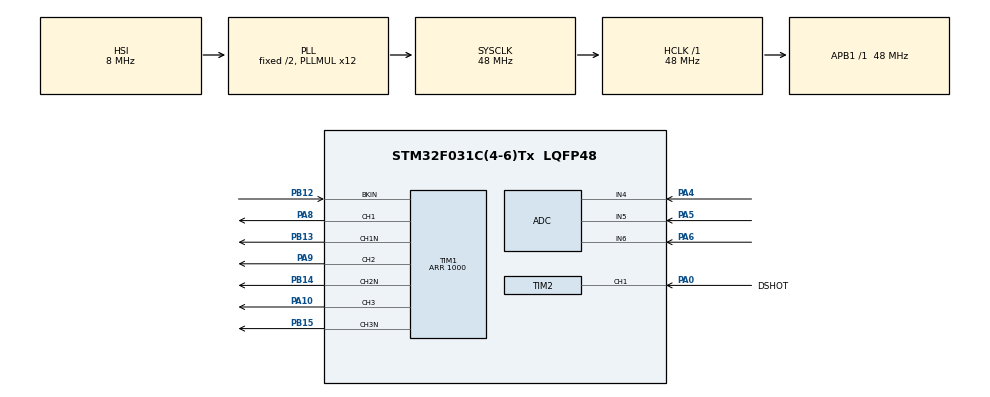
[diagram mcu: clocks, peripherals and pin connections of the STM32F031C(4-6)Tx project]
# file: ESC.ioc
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ADC.ExternalTrigConv=ADC_EXTERNALTRIGCONV_T1_TRGO
Dma.ADC.1.Direction=DMA_PERIPH_TO_MEMORY
Dma.ADC.1.Instance=DMA1_Channel1
Dma.ADC.1.MemDataAlignment=DMA_MDATAALIGN_HALFWORD
Dma.ADC.1.MemInc=DMA_MINC_ENABLE
Dma.ADC.1.Mode=DMA_CIRCULAR
Dma.ADC.1.PeriphDataAlignment=DMA_PDATAALIGN_HALFWORD
Dma.ADC.1.PeriphInc=DMA_PINC_DISABLE
Dma.ADC.1.Priority=DMA_PRIORITY_LOW
Dma.Request0=TIM2_CH1
Dma.Request1=ADC
Dma.TIM2_CH1.0.Direction=DMA_PERIPH_TO_MEMORY
Dma.TIM2_CH1.0.Instance=DMA1_Channel5
Dma.TIM2_CH1.0.MemDataAlignment=DMA_MDATAALIGN_WORD
Dma.TIM2_CH1.0.MemInc=DMA_MINC_ENABLE
Dma.TIM2_CH1.0.Mode=DMA_NORMAL
Dma.TIM2_CH1.0.PeriphDataAlignment=DMA_PDATAALIGN_WORD
Dma.TIM2_CH1.0.PeriphInc=DMA_PINC_DISABLE
Dma.TIM2_CH1.0.Priority=DMA_PRIORITY_LOW
Mcu.Family=STM32F0
Mcu.Name=STM32F031C(4-6)Tx
Mcu.Package=LQFP48
NVIC.DMA1_Channel1_IRQn=true\:0\:0\:false\:false\:true\:false\:true\:true
NVIC.DMA1_Channel4_5_IRQn=true\:0\:0\:false\:false\:true\:false\:true\:true
PA0.GPIO_Label=DSHOT
PA0.Signal=S_TIM2_CH1_ETR
PA10.Signal=S_TIM1_CH3
PA4.Mode=IN4
PA4.Signal=ADC_IN4
PA5.Mode=IN5
PA5.Signal=ADC_IN5
PA6.Mode=IN6
PA6.Signal=ADC_IN6
PA8.Signal=S_TIM1_CH1
PA9.Signal=S_TIM1_CH2
PB12.Mode=Activate-Break-Input
PB12.Signal=TIM1_BKIN
PB13.Mode=PWM Generation1 CH1 CH1N
PB13.Signal=TIM1_CH1N
PB14.Mode=PWM Generation2 CH2 CH2N
PB14.Signal=TIM1_CH2N
PB15.Mode=PWM Generation3 CH3 CH3N
PB15.Signal=TIM1_CH3N
ProjectManager.HeapSize=0x200
ProjectManager.StackSize=0x400
ProjectManager.TargetToolchain=STM32CubeIDE
RCC.AHBFreq_Value=48000000
RCC.APB1Freq_Value=48000000
RCC.APB1TimFreq_Value=48000000
RCC.HCLKFreq_Value=48000000
RCC.PLLMUL=RCC_PLL_MUL12
RCC.SYSCLKFreq_VALUE=48000000
RCC.SYSCLKSource=RCC_SYSCLKSOURCE_PLLCLK
SH.S_TIM1_CH1.0=TIM1_CH1,PWM Generation1 CH1 CH1N
SH.S_TIM1_CH2.0=TIM1_CH2,PWM Generation2 CH2 CH2N
SH.S_TIM1_CH3.0=TIM1_CH3,PWM Generation3 CH3 CH3N
SH.S_TIM2_CH1_ETR.0=TIM2_CH1,Input_Capture1_from_TI1
SH.S_TIM2_CH1_ETR.1=TIM2_CH1,TriggerSource_TI1FP1
TIM1.AutoReloadPreload=TIM_AUTORELOAD_PRELOAD_DISABLE
TIM1.AutomaticOutput=TIM_AUTOMATICOUTPUT_DISABLE
TIM1.Channel-PWM\ Generation1\ CH1\ CH1N=TIM_CHANNEL_1
TIM1.Channel-PWM\ Generation2\ CH2\ CH2N=TIM_CHANNEL_2
TIM1.Channel-PWM\ Generation3\ CH3\ CH3N=TIM_CHANNEL_3
TIM1.Channel-PWM\ Generation4\ No\ Output=TIM_CHANNEL_4
TIM1.ClockDivision=TIM_CLOCKDIVISION_DIV2
TIM1.CounterMode=TIM_COUNTERMODE_CENTERALIGNED1
TIM1.DeadTime=100
TIM1.OffStateIDLEMode=TIM_OSSI_ENABLE
TIM1.OffStateRunMode=TIM_OSSR_ENABLE
TIM1.Period=1000
TIM1.TIM_MasterOutputTrigger=TIM_TRGO_UPDATE
TIM2.Channel-Input_Capture1_from_TI1=TIM_CHANNEL_1
VP_TIM1_VS_no_output4.Mode=PWM Generation4 No Output
VP_TIM2_VS_ControllerModeReset.Mode=Reset Mode
board=custom

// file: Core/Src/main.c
/* USER CODE BEGIN Header */
/**
  ******************************************************************************
  * @file           : main.c
  * @brief          : Main program body
  ******************************************************************************
  * @attention
  *
  * Copyright (c) 2026 STMicroelectronics.
  * All rights reserved.
  *
  * This software is licensed under terms that can be found in the LICENSE file
  * in the root directory of this software component.
  * If no LICENSE file comes with this software, it is provided AS-IS.
  *
  ******************************************************************************
  */
/* USER CODE END Header */
#include "main.h"

/* USER CODE BEGIN Includes */
#include "dshot.h"
#include "motor.h"
/* USER CODE END Includes */

ADC_HandleTypeDef hadc;
DMA_HandleTypeDef hdma_adc;

TIM_HandleTypeDef htim1;
TIM_HandleTypeDef htim2;
DMA_HandleTypeDef hdma_tim2_ch1;

/* USER CODE BEGIN PV */
uint32_t dshot_dma_buffer[DSHOT_FRAME_SIZE];
DShot_Data_t dshot_data;
uint8_t huidige_stap = 1;
uint32_t stap_timer = 0;
/* USER CODE END PV */

void SystemClock_Config(void);
static void MX_GPIO_Init(void);
static void MX_DMA_Init(void);
static void MX_TIM2_Init(void);
static void MX_TIM1_Init(void);
static void MX_ADC_Init(void);

int main(void)
{

  /* MCU Configuration--------------------------------------------------------*/

  /* Reset of all peripherals, Initializes the Flash interface and the Systick. */
  HAL_Init();

  /* Configure the system clock */
  SystemClock_Config();

  /* Initialize all configured peripherals */
  MX_GPIO_Init();
  MX_DMA_Init();
  MX_TIM2_Init();
  MX_TIM1_Init();
  MX_ADC_Init();
  /* USER CODE BEGIN 2 */
  // Start de DShot ontvangen
  DShot_Init(&htim2);

  uint16_t adc_buffer[4]; // voor de 3 aansluitingen van de motor plus de som naar algemene
  HAL_ADC_Start_DMA(&hadc, (uint32_t*)adc_buffer, 4);

 // AI ZEGT onderstaande TE DOEN OMDAT IK CCPC Coummutation control niet kan vinden in het IOC en dient dus om de pwm kanalen te starten op de tim1 kanalen

  // 1. Activeer handmatig de CCPC (Commutation Control) bit in TIM1
  TIM1->CR2 |= TIM_CR2_CCPC;

  // 2. Activeer de Automatic Output Enable (AOE) voor veiligheid
  TIM1->BDTR |= TIM_BDTR_AOE;

  // 4. Start alle PWM-kanalen (zowel High als Low side)
  HAL_TIM_PWM_Start(&htim1, TIM_CHANNEL_1);
  HAL_TIMEx_PWMN_Start(&htim1, TIM_CHANNEL_1);
  HAL_TIM_PWM_Start(&htim1, TIM_CHANNEL_2);
  HAL_TIMEx_PWMN_Start(&htim1, TIM_CHANNEL_2);
  HAL_TIM_PWM_Start(&htim1, TIM_CHANNEL_3);
  HAL_TIMEx_PWMN_Start(&htim1, TIM_CHANNEL_3);
// tot hier

  /* USER CODE END 2 */

  /* Infinite loop */
  /* USER CODE BEGIN WHILE */
  while (1)
  {
	// 1. Decodeer de huidige buffer
	dshot_data = DShot_Decode(dshot_dma_buffer);
	if (dshot_data.geldig){
		Motor_stap(huidige_stap, dshot_data.gas);
	}

    /* USER CODE END WHILE */

    /* USER CODE BEGIN 3 */

	dshot_data = DShot_Decode(dshot_dma_buffer);

	    if (dshot_data.geldig) {
	        if (BEMF_nulpunt(huidige_stap, adc_buffer)) {

	            // om te testen even een delay toegevoegd hiernaa eventueel timer gebruiken
	            HAL_Delay(0);

	            // 4. Ga naar de volgende stap
	            huidige_stap++;
	            if (huidige_stap > 6) huidige_stap = 1;

	            Motor_stap(huidige_stap, dshot_data.gas);
	        }
	    }
	}
  }
  /* USER CODE END 3 */
}

void SystemClock_Config(void)
{
  RCC_OscInitTypeDef RCC_OscInitStruct = {0};
  RCC_ClkInitTypeDef RCC_ClkInitStruct = {0};

  /** Initializes the RCC Oscillators according to the specified parameters
  * in the RCC_OscInitTypeDef structure.
  */
  RCC_OscInitStruct.OscillatorType = RCC_OSCILLATORTYPE_HSI|RCC_OSCILLATORTYPE_HSI14;
  RCC_OscInitStruct.HSIState = RCC_HSI_ON;
  RCC_OscInitStruct.HSI14State = RCC_HSI14_ON;
  RCC_OscInitStruct.HSICalibrationValue = RCC_HSICALIBRATION_DEFAULT;
  RCC_OscInitStruct.HSI14CalibrationValue = 16;
  RCC_OscInitStruct.PLL.PLLState = RCC_PLL_ON;
  RCC_OscInitStruct.PLL.PLLSource = RCC_PLLSOURCE_HSI;
  RCC_OscInitStruct.PLL.PLLMUL = RCC_PLL_MUL12;
  RCC_OscInitStruct.PLL.PREDIV = RCC_PREDIV_DIV1;
  if (HAL_RCC_OscConfig(&RCC_OscInitStruct) != HAL_OK)
  {
    Error_Handler();
  }

  /** Initializes the CPU, AHB and APB buses clocks
  */
  RCC_ClkInitStruct.ClockType = RCC_CLOCKTYPE_HCLK|RCC_CLOCKTYPE_SYSCLK
                              |RCC_CLOCKTYPE_PCLK1;
  RCC_ClkInitStruct.SYSCLKSource = RCC_SYSCLKSOURCE_PLLCLK;
  RCC_ClkInitStruct.AHBCLKDivider = RCC_SYSCLK_DIV1;
  RCC_ClkInitStruct.APB1CLKDivider = RCC_HCLK_DIV1;

  if (HAL_RCC_ClockConfig(&RCC_ClkInitStruct, FLASH_LATENCY_1) != HAL_OK)
  {
    Error_Handler();
  }
}

static void MX_ADC_Init(void)
{

  ADC_ChannelConfTypeDef sConfig = {0};

  /** Configure the global features of the ADC (Clock, Resolution, Data Alignment and number of conversion)
  */
  hadc.Instance = ADC1;
  hadc.Init.ClockPrescaler = ADC_CLOCK_ASYNC_DIV1;
  hadc.Init.Resolution = ADC_RESOLUTION_12B;
  hadc.Init.DataAlign = ADC_DATAALIGN_RIGHT;
  hadc.Init.ScanConvMode = ADC_SCAN_DIRECTION_FORWARD;
  hadc.Init.EOCSelection = ADC_EOC_SINGLE_CONV;
  hadc.Init.LowPowerAutoWait = DISABLE;
  hadc.Init.LowPowerAutoPowerOff = DISABLE;
  hadc.Init.ContinuousConvMode = DISABLE;
  hadc.Init.DiscontinuousConvMode = DISABLE;
  hadc.Init.ExternalTrigConv = ADC_EXTERNALTRIGCONV_T1_TRGO;
  hadc.Init.ExternalTrigConvEdge = ADC_EXTERNALTRIGCONVEDGE_RISING;
  hadc.Init.DMAContinuousRequests = DISABLE;
  hadc.Init.Overrun = ADC_OVR_DATA_PRESERVED;
  if (HAL_ADC_Init(&hadc) != HAL_OK)
  {
    Error_Handler();
  }

  /** Configure for the selected ADC regular channel to be converted.
  */
  sConfig.Channel = ADC_CHANNEL_4;
  sConfig.Rank = ADC_RANK_CHANNEL_NUMBER;
  sConfig.SamplingTime = ADC_SAMPLETIME_1CYCLE_5;
  if (HAL_ADC_ConfigChannel(&hadc, &sConfig) != HAL_OK)
  {
    Error_Handler();
  }

  /** Configure for the selected ADC regular channel to be converted.
  */
  sConfig.Channel = ADC_CHANNEL_5;
  if (HAL_ADC_ConfigChannel(&hadc, &sConfig) != HAL_OK)
  {
    Error_Handler();
  }

  /** Configure for the selected ADC regular channel to be converted.
  */
  sConfig.Channel = ADC_CHANNEL_6;
  if (HAL_ADC_ConfigChannel(&hadc, &sConfig) != HAL_OK)
  {
    Error_Handler();
  }

}

static void MX_TIM1_Init(void)
{

  TIM_MasterConfigTypeDef sMasterConfig = {0};
  TIM_OC_InitTypeDef sConfigOC = {0};
  TIM_BreakDeadTimeConfigTypeDef sBreakDeadTimeConfig = {0};

  htim1.Instance = TIM1;
  htim1.Init.Prescaler = 0;
  htim1.Init.CounterMode = TIM_COUNTERMODE_CENTERALIGNED1;
  htim1.Init.Period = 1000;
  htim1.Init.ClockDivision = TIM_CLOCKDIVISION_DIV2;
  htim1.Init.RepetitionCounter = 0;
  htim1.Init.AutoReloadPreload = TIM_AUTORELOAD_PRELOAD_DISABLE;
  if (HAL_TIM_PWM_Init(&htim1) != HAL_OK)
  {
    Error_Handler();
  }
  sMasterConfig.MasterOutputTrigger = TIM_TRGO_UPDATE;
  sMasterConfig.MasterSlaveMode = TIM_MASTERSLAVEMODE_DISABLE;
  if (HAL_TIMEx_MasterConfigSynchronization(&htim1, &sMasterConfig) != HAL_OK)
  {
    Error_Handler();
  }
  sConfigOC.OCMode = TIM_OCMODE_PWM1;
  sConfigOC.Pulse = 0;
  sConfigOC.OCPolarity = TIM_OCPOLARITY_HIGH;
  sConfigOC.OCNPolarity = TIM_OCNPOLARITY_HIGH;
  sConfigOC.OCFastMode = TIM_OCFAST_DISABLE;
  sConfigOC.OCIdleState = TIM_OCIDLESTATE_RESET;
  sConfigOC.OCNIdleState = TIM_OCNIDLESTATE_RESET;
  if (HAL_TIM_PWM_ConfigChannel(&htim1, &sConfigOC, TIM_CHANNEL_1) != HAL_OK)
  {
    Error_Handler();
  }
  if (HAL_TIM_PWM_ConfigChannel(&htim1, &sConfigOC, TIM_CHANNEL_2) != HAL_OK)
  {
    Error_Handler();
  }
  if (HAL_TIM_PWM_ConfigChannel(&htim1, &sConfigOC, TIM_CHANNEL_3) != HAL_OK)
  {
    Error_Handler();
  }
  if (HAL_TIM_PWM_ConfigChannel(&htim1, &sConfigOC, TIM_CHANNEL_4) != HAL_OK)
  {
    Error_Handler();
  }
  sBreakDeadTimeConfig.OffStateRunMode = TIM_OSSR_ENABLE;
  sBreakDeadTimeConfig.OffStateIDLEMode = TIM_OSSI_ENABLE;
  sBreakDeadTimeConfig.LockLevel = TIM_LOCKLEVEL_OFF;
  sBreakDeadTimeConfig.DeadTime = 100;
  sBreakDeadTimeConfig.BreakState = TIM_BREAK_ENABLE;
  sBreakDeadTimeConfig.BreakPolarity = TIM_BREAKPOLARITY_HIGH;
  sBreakDeadTimeConfig.AutomaticOutput = TIM_AUTOMATICOUTPUT_DISABLE;
  if (HAL_TIMEx_ConfigBreakDeadTime(&htim1, &sBreakDeadTimeConfig) != HAL_OK)
  {
    Error_Handler();
  }
  HAL_TIM_MspPostInit(&htim1);

}

static void MX_TIM2_Init(void)
{

  TIM_SlaveConfigTypeDef sSlaveConfig = {0};
  TIM_MasterConfigTypeDef sMasterConfig = {0};
  TIM_IC_InitTypeDef sConfigIC = {0};

  htim2.Instance = TIM2;
  htim2.Init.Prescaler = 0;
  htim2.Init.CounterMode = TIM_COUNTERMODE_UP;
  htim2.Init.Period = 4294967295;
  htim2.Init.ClockDivision = TIM_CLOCKDIVISION_DIV1;
  htim2.Init.AutoReloadPreload = TIM_AUTORELOAD_PRELOAD_DISABLE;
  if (HAL_TIM_Base_Init(&htim2) != HAL_OK)
  {
    Error_Handler();
  }
  if (HAL_TIM_IC_Init(&htim2) != HAL_OK)
  {
    Error_Handler();
  }
  sSlaveConfig.SlaveMode = TIM_SLAVEMODE_RESET;
  sSlaveConfig.InputTrigger = TIM_TS_TI1FP1;
  sSlaveConfig.TriggerPolarity = TIM_INPUTCHANNELPOLARITY_RISING;
  sSlaveConfig.TriggerFilter = 0;
  if (HAL_TIM_SlaveConfigSynchro(&htim2, &sSlaveConfig) != HAL_OK)
  {
    Error_Handler();
  }
  sMasterConfig.MasterOutputTrigger = TIM_TRGO_RESET;
  sMasterConfig.MasterSlaveMode = TIM_MASTERSLAVEMODE_DISABLE;
  if (HAL_TIMEx_MasterConfigSynchronization(&htim2, &sMasterConfig) != HAL_OK)
  {
    Error_Handler();
  }
  sConfigIC.ICPolarity = TIM_INPUTCHANNELPOLARITY_RISING;
  sConfigIC.ICSelection = TIM_ICSELECTION_DIRECTTI;
  sConfigIC.ICPrescaler = TIM_ICPSC_DIV1;
  sConfigIC.ICFilter = 0;
  if (HAL_TIM_IC_ConfigChannel(&htim2, &sConfigIC, TIM_CHANNEL_1) != HAL_OK)
  {
    Error_Handler();
  }

}

static void MX_DMA_Init(void)
{

  /* DMA controller clock enable */
  __HAL_RCC_DMA1_CLK_ENABLE();

  /* DMA interrupt init */
  /* DMA1_Channel1_IRQn interrupt configuration */
  HAL_NVIC_SetPriority(DMA1_Channel1_IRQn, 0, 0);
  HAL_NVIC_EnableIRQ(DMA1_Channel1_IRQn);
  /* DMA1_Channel4_5_IRQn interrupt configuration */
  HAL_NVIC_SetPriority(DMA1_Channel4_5_IRQn, 0, 0);
  HAL_NVIC_EnableIRQ(DMA1_Channel4_5_IRQn);

}

static void MX_GPIO_Init(void)
{

  /* GPIO Ports Clock Enable */
  __HAL_RCC_GPIOA_CLK_ENABLE();
  __HAL_RCC_GPIOB_CLK_ENABLE();

}

void Error_Handler(void)
{
  __disable_irq();
  while (1)
  {
  }
}
